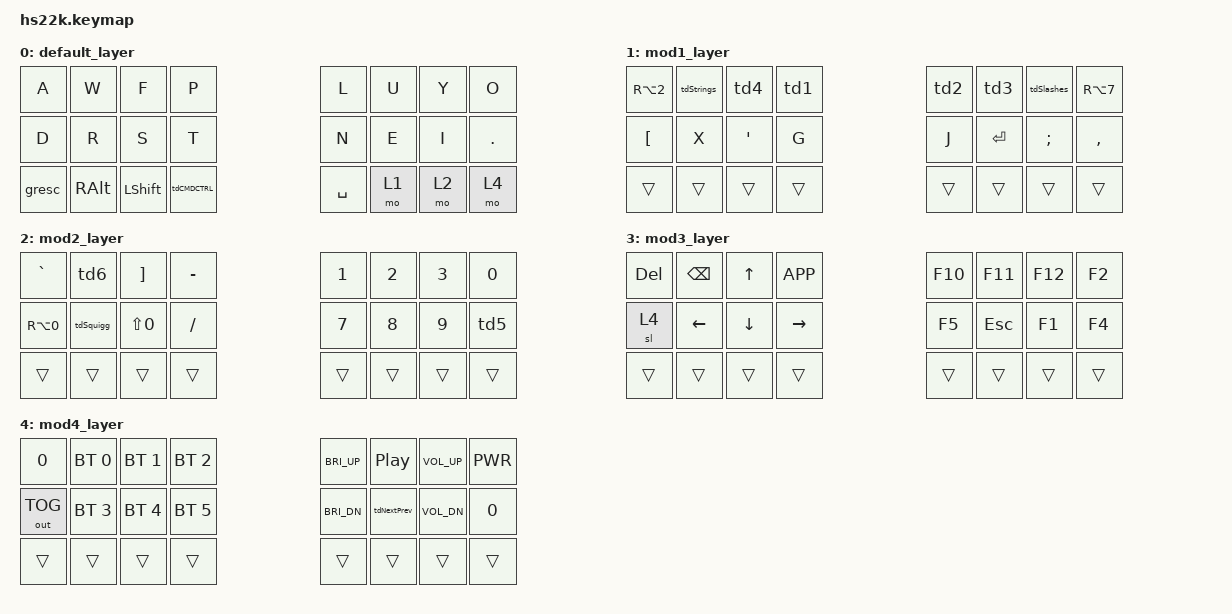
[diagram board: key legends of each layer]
/*
 * Copyright (c) 2022 Daniel Grenehed
 *
 * SPDX-License-Identifier: MIT
 */

#include <behaviors.dtsi>
#include <dt-bindings/zmk/keys.h>
#include <dt-bindings/zmk/outputs.h>
#include <dt-bindings/zmk/bt.h>

&mt {
	retro-tap;
};

/ {
	macros {
        th_macro: th_macro {
            label = "ZM_th_macro";
            compatible = "zmk,behavior-macro";
            #binding-cells = <0>;
			wait-ms = <0>;
            bindings = <&macro_tap &kp T &kp H>;
        };
    };

	behaviors {
        tdCMDCTRL: td-cmd-ctrl {
            compatible = "zmk,behavior-tap-dance";
            label = "CMD-CTRL";
            #binding-cells = <0>;
            tapping-term-ms = <200>;
            bindings = <&kp LGUI>, <&kp LCTRL>;
        };
		td1: td-bracket { /* ( ) */
			compatible = "zmk,behavior-tap-dance";
			label = "BRACKET";
			#binding-cells = <0>;
			tapping-term-ms = <200>;
			bindings = <&kp LS(N8)>, <&kp LS(N9)>;
		}; 
		td2: td-square-bracket { /* [ ] */
			compatible = "zmk,behavior-tap-dance";
			label = "SQUARE-BRACKET";
			#binding-cells = <0>;
			tapping-term-ms = <200>;
			bindings = <&kp RA(N8)>, <&kp RA(N9)>;
		};
		td3: td-curly-bracket { /* { } */
			compatible = "zmk,behavior-tap-dance";
			label = "CURLY-BRACKET";
			#binding-cells = <0>;
			tapping-term-ms = <200>;
			bindings = <&kp LS(RA(N8))>, <&kp LS(RA(N9))>;
		};
		td4: td-angle-bracket { /* < > */
			compatible = "zmk,behavior-tap-dance";
			label = "ANGLE-BRACKET";
			#binding-cells = <0>;
			tapping-term-ms = <200>;
			bindings = <&kp NON_US_BSLH>, <&kp PIPE2>;
		};
		td5: td-mlt-div { /* * / */
			compatible = "zmk,behavior-tap-dance";
			label = "MLT-DIV";
			#binding-cells = <0>;
			tapping-term-ms = <200>;
			bindings = <&kp LS(BSLH)>, <&kp LS(N7)>;
		};
		td6: strofe { /* ´ ` */
			compatible = "zmk,behavior-tap-dance";
			label = "STROFE";
			#binding-cells = <0>;
			tapping-term-ms = <200>;
			bindings = <&kp EQUAL>, <&kp LS(EQUAL)>;
		};
		td7: sequal { /* = ≈ */
			compatible = "zmk,behavior-tap-dance";
			label = "SEQUAL";
			#binding-cells = <0>;
			tapping-term-ms = <200>;
			bindings = <&kp LS(N0)>, <&kp RA(N0)>;
		};
		td8: sminus { /* - ~ */
			compatible = "zmk,behavior-tap-dance";
			label = "SMINUS";
			#binding-cells = <0>;
			tapping-term-ms = <200>;
			bindings = <&kp FSLH>, <&kp RA(RBKT)>;
		};
		tdNextPrev: nextprev {
			compatible = "zmk,behavior-tap-dance";
			label = "NextPrev";
			#binding-cells = <0>;
			tapping-term-ms = <200>;
			bindings = <&kp C_NEXT>, <&kp C_PREV>;
		};
		tdBackDelete: backdelete {
			compatible = "zmk,behavior-tap-dance";
			label = "BackDelete";
			#binding-cells = <0>;
			tapping-term-ms = <200>;
			bindings = <&kp BSPC>, <&kp DEL>;
		};
		tdSpaceTab: spacetab {
			compatible = "zmk,behavior-tap-dance";
			label = "SpaceTab";
			#binding-cells = <0>;
			tapping-term-ms = <200>;
			bindings = <&kp SPACE>, <&kp TAB>;
		};
		tdStrings: strings { /* ' " */
			compatible = "zmk,behavior-tap-dance";
			label = "Strings";
			#binding-cells = <0>;
			tapping-term-ms = <200>;
			bindings = <&kp BSLH>, <&kp LS(N2)>;
		};
		tdSlashes: slashes { /* / \ */
			compatible = "zmk,behavior-tap-dance";
			label = "Slashes";
			#binding-cells = <0>;
			tapping-term-ms = <200>;
			bindings = <&kp LS(N7)>, <&kp RA(LS(N7))>;
		};
		tdSquigg: squigg {
			compatible = "zmk,behavior-tap-dance";
			label = "Squigg";
			#binding-cells = <0>;
			tapping-term-ms = <200>;
			bindings = <&kp RA(RBKT)>, <&kp RA(N0)>;
		};
    };

	keymap {
		compatible = "zmk,keymap";

		default_layer {
			// --------------------------------------------------------
			// | A | W | F | P |				 	  | L | U | Y | O |
			// | D | R | S | T |				 	  | N | E | I | . |
			// | N/A | ALT | SHIFT | WIN/CTRl | SPACE | MO | MO | MO  |
			// --------------------------------------------------------
			bindings = <
				&kp A &kp W &kp F &kp P					&kp L &kp U &kp Y &kp O
				&kp D &kp R &kp S &kp T 				&kp N &kp E &kp I &kp DOT
				&gresc &kp RALT &kp LSHIFT &tdCMDCTRL		&kp SPACE &mo 1 &mo 2 &mo 4
			>;
		};

		mod1_layer {
			// ---------------------------------------------------
			// | @ | '/" | <> | () |			| [] | {} | /\ | | |
			// | Å | X | Ä | G |			| J | ENTER | Ö | , |
			// | N/A | ALT | SHIFT | WIN | SPACE | MO | MO | MO  |
			// ---------------------------------------------------
			bindings = <
				&kp RA(N2) &tdStrings &td4 &td1		&td2 &td3 &tdSlashes &kp RA(N7)
				&kp LBKT &kp X &kp APOS &kp G 		&kp J &kp RET &kp SEMI &kp COMMA
				&trans &trans &trans &trans			&trans &trans &trans &trans
			>;
		};

		mod2_layer {
			// ---------------------------------------------------
			// | § | ´` | ¨ | + |				 | 1 | 2 | 3 | 0 |
			// | ≈ | ~≈ | = | - |				 | 7 | 8 | 9 | */ |
			// | N/A | ALT | SHIFT | WIN | SPACE | MO | MO | MO  |
			// ---------------------------------------------------
			bindings = <
				&kp GRAVE &td6 &kp RBKT &kp MINUS	&kp N1 &kp N2 &kp N3 &kp N0
				&kp RA(N0) &tdSquigg &kp LS(N0) &kp FSLH 	&kp N7 &kp N8 &kp N9 &td5
				&trans &trans &trans &trans			&trans &trans &trans &trans
			>;
		};
		
		mod3_layer {
			// ---------------------------------------------------
			// | Delete | Backspace | UP | apps |	 | F10 | F11 | F12 | F2 |
			// | sl4 | RIGHT | DOWN | LEFT |	 		 | F5 | ESC | F1 | F4 |
			// | N/A | ALT | SHIFT | WIN | SPACE | MO | MO | MO  |
			// ---------------------------------------------------
			bindings = <
				&kp DEL &kp BSPC &kp UP &kp K_APP	&kp F10 &kp F11 &kp F12 &kp F2
				&sl 4 &kp LEFT &kp DOWN &kp RIGHT 		&kp F5 &kp ESC &kp F1 &kp F4
				&trans &trans &trans &trans				&trans &trans &trans &trans
			>;
		};

		mod4_layer {
			// ---------------------------------------------------
			// | 0 | bt0 | bt1 | bt2 |				| Brightness up | play/pause | volume up | Lock |
			// | out_toggle | bt3 | bt4 | bt5 |		| Brightness down | Next/Prev | volume down | 0 |
			// | N/A | ALT | SHIFT | WIN | SPACE | MO | MO | MO  |
			// ---------------------------------------------------
			bindings = <
				&kp N0 &bt BT_SEL 0 &bt BT_SEL 1 &bt BT_SEL 2		&kp C_BRI_UP &kp C_PP &kp C_VOL_UP &kp K_PWR
				&out OUT_TOG &bt BT_SEL 3 &bt BT_SEL 4 &bt BT_SEL 5 	&kp C_BRI_DN &tdNextPrev &kp C_VOL_DN &kp N0
				&trans &trans &trans &trans								&trans &trans &trans &trans
			>;
		};

	};

	conditional_layers {
        compatible = "zmk,conditional-layers";
        tri_layer {
            if-layers = <1 2>;
            then-layer = <3>;
        };
    };	
};

/ {
    combos {
        compatible = "zmk,combos";

		/*

			Layer 0 In-between row

			| upper row
			-----------------------------------------
			| Z | V | C | B |		| M | H | K | Q |
			-----------------------------------------
			| lower row
			*/
		combo_butt_1l0 {
			timeout-ms = <30>;
			key-positions = <0 8>;
			layers = <0>;
			bindings = <&kp Z>;
		};
		combo_butt_2l0 {
			timeout-ms = <30>;
			key-positions = <1 9>;
			layers = <0>;
			bindings = <&kp V>;
		};
		combo_butt_3l0 {
			timeout-ms = <30>;
			key-positions = <2 10>;
			layers = <0>;
			bindings = <&kp C>;
		};
        combo_butt_4l0 {
            timeout-ms = <30>;
            key-positions = <3 11>;
			layers = <0>;
            bindings = <&kp B>;
        };
		combo_butt_5l0 {
			timeout-ms = <30>;
			key-positions = <4 12>;
			layers = <0>;
			bindings = <&kp M>;
		};
		combo_butt_6l0 {
			timeout-ms = <30>;
			key-positions = <5 13>;
			layers = <0>;
			bindings = <&kp H>;
		};
		combo_butt_7l0 {
			timeout-ms = <30>;
			key-positions = <6 14>;
			layers = <0>;
			bindings = <&kp K>;
		};
		combo_butt_8l0 {
			timeout-ms = <30>;
			key-positions = <7 15>;
			layers = <0>;
			bindings = <&kp Q>;
		};
		
		/*
			Layer 1 In-between row

			| upper row
			-----------------------------------------
			| # | * | TAB | _ |		| ? | & | ! | % |
			-----------------------------------------
			| lower row
		*/
		combo_butt_1l1 {
			timeout-ms = <30>;
			key-positions = <0 8>;
			layers = <1>;
			bindings = <&kp LS(N3)>;
		};
		combo_butt_2l1 {
			timeout-ms = <30>;
			key-positions = <1 9>;
			layers = <1>;
			bindings = <&kp LS(BSLH)>;
		};
		combo_butt_3l1 {
			timeout-ms = <30>;
			key-positions = <2 10>;
			layers = <1>;
			bindings = <&kp TAB>;
		};
		combo_butt_4l1 {
			timeout-ms = <30>;
			key-positions = <3 11>;
			layers = <1>;
			bindings = <&kp LS(FSLH)>;
		};

		combo_butt_5l1 {
			timeout-ms = <30>;
			key-positions = <4 12>;
			layers = <1>;
			bindings = <&kp LS(MINUS)>;
		};
		combo_butt_6l1 {
			timeout-ms = <30>;
			key-positions = <5 13>;
			layers = <1>;
			bindings = <&kp LS(N6)>;
		};
		combo_butt_7l1 {
			timeout-ms = <30>;
			key-positions = <6 14>;
			layers = <1>;
			bindings = <&kp LS(N1)>;
		};
		combo_butt_8l1 {
			timeout-ms = <30>;
			key-positions = <7 15>;
			layers = <1>;
			bindings = <&kp LS(N5)>;
		};

		/*
			Layer 2 In-between row

			-----------------------------------------
			| ! | " | # | € |		| 4 | 5 | 6 | % |
			-----------------------------------------

		*/
		combo_butt_1l2 {
			timeout-ms = <30>;
			key-positions = <0 8>;
			layers = <2>;
			bindings = <&kp EXCL>;
		};
		combo_butt_2l2 {
			timeout-ms = <30>;
			key-positions = <1 9>;
			layers = <2>;
			bindings = <&kp AT>;
		};
		combo_butt_3l2 {
			timeout-ms = <30>;
			key-positions = <2 10>;
			layers = <2>;
			bindings = <&kp HASH>;
		};
		combo_butt_4l2 {
			timeout-ms = <30>; 
			key-positions = <3 11>;
			layers = <2>;
			bindings = <&kp DLLR>;
		};
		combo_butt_5l2 {
			timeout-ms = <30>;
			key-positions = <4 12>;
			layers = <2>;
			bindings = <&kp N4>;
		};
		combo_butt_6l2 {
			timeout-ms = <30>;
			key-positions = <5 13>;
			layers = <2>;
			bindings = <&kp N5>;
		};
		combo_butt_7l2 {
			timeout-ms = <30>;
			key-positions = <6 14>;
			layers = <2>;
			bindings = <&kp N6>;
		};
		combo_butt_8l2 {
			timeout-ms = <30>;
			key-positions = <7 15>;
			layers = <2>;
			bindings = <&kp PRCNT>;
		};
		
		/* 
			Layer 3 In-between row

			Magnet align thirds
			-----------------------------------------------------------------
			| CTRL+ALT+D | CTRL+ALT+E | CTRL+ALT+F | CTRL+ALT+T |		| CTRL+ALT+G | CTRL+ALT+C | WIN+SPACE | WIN+ALT+SHIFT+Q |
			-----------------------------------------------------------------
		*/
		combo_butt_1l3 {
			timeout-ms = <30>;
			key-positions = <0 8>;
			layers = <3>;
			bindings = <&kp RC(RA(D))>;
		};
		combo_butt_2l3 {
			timeout-ms = <30>;
			key-positions = <1 9>;
			layers = <3>;
			bindings = <&kp RC(RA(E))>;
		};
		combo_butt_3l3 {
			timeout-ms = <30>;
			key-positions = <2 10>;
			layers = <3>;
			bindings = <&kp RC(RA(F))>;
		};
		combo_butt_4l3 {
			timeout-ms = <30>;
			key-positions = <3 11>;
			layers = <3>;
			bindings = <&kp RC(RA(T))>;
		};
		combo_butt_5l3 {
			timeout-ms = <30>;
			key-positions = <4 12>;
			layers = <3>;
			bindings = <&kp RC(RA(G))>;
		};
		combo_butt_6l3 {
			timeout-ms = <30>;
			key-positions = <5 13>;
			layers = <3>;
			bindings = <&kp RC(RA(C))>;
		};
		combo_butt_7l3 {
			timeout-ms = <30>;
			key-positions = <6 14>;
			layers = <3>;
			bindings = <&kp LG(SPACE)>;
		};
		combo_butt_8l3 {
			timeout-ms = <30>;
			key-positions = <7 15>;
			layers = <3>;
			bindings = <&kp LG(RA(LS(Q)))>;
		};

		/* 
			Layer 4 In-between row
			-------------------------------------------------------------
			| & | / | ( | Clear Bt profile |		| ) | = | ? | Flash |
			-------------------------------------------------------------
		*/
		combo_butt_1l4 {
			timeout-ms = <30>;
			key-positions = <0 8>;
			layers = <4>;
			bindings = <&kp CARET>;
		};
		combo_butt_2l4 {
			timeout-ms = <30>;
			key-positions = <1 9>;
			layers = <4>;
			bindings = <&kp AMPS>;
		};
		combo_butt_3l4 {
			timeout-ms = <30>;
			key-positions = <2 10>;
			layers = <4>;
			bindings = <&kp STAR>;
		};
		combo_butt_4l4 {
			timeout-ms = <30>;
			key-positions = <3 11>;
			layers = <4>;
			bindings = <&bt BT_CLR>;
		};
		combo_butt_5l4 {
			timeout-ms = <30>;
			key-positions = <4 12>;
			layers = <4>;
			bindings = <&kp LPAR>;
		};
		combo_butt_6l4 {
			timeout-ms = <30>;
			key-positions = <5 13>;
			layers = <4>;
			bindings = <&kp RPAR>;
		};
		combo_butt_7l4 {
			timeout-ms = <30>;
			key-positions = <6 14>;
			layers = <4>;
			bindings = <&kp UNDER>;
		};
		combo_butt_8l4 {
			timeout-ms = <30>;
			key-positions = <7 15>;
			layers = <4>;
			bindings = <&bootloader>;
		};

    };
};
